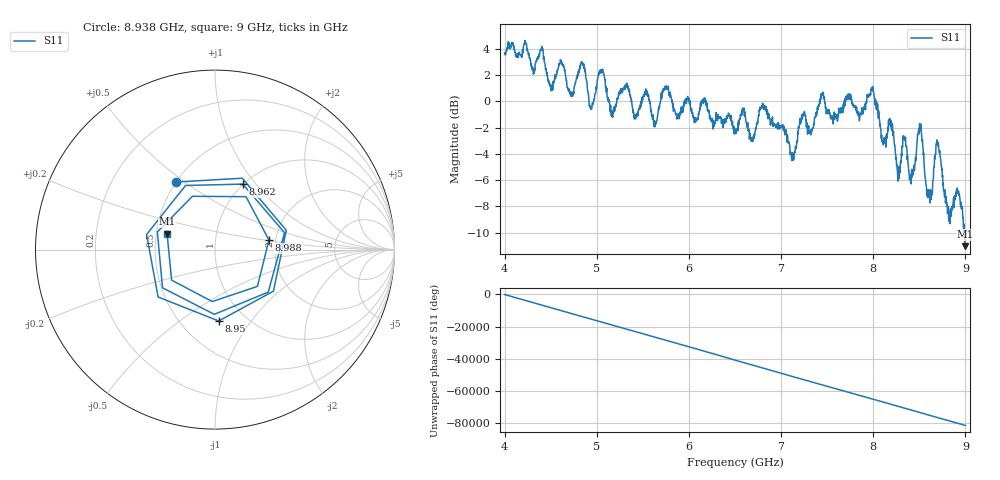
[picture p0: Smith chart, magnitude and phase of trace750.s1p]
! Created with skrf 1.8.0 (http://scikit-rf.org).
# Hz S RI R 50.0
!freq ReS11 ImS11
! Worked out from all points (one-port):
!   1601 points, 4 GHz to 9 GHz, reference 50 ohm
!   lowest |S11| = -11.0 dB at 9 GHz (marker M1), VSWR 1.78, Z = 28.5 + j5.49 ohm
!   |S11| at or under -10 dB: 8.986735 GHz to end of sweep
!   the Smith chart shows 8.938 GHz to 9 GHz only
!   S11 on the Smith chart (normalised r, x): 8.938 GHz: 0.50, +0.46; 8.95 GHz: 0.75, -0.71; 8.962 GHz: 0.99, +0.86; 8.988 GHz: 1.84, +0.22; 9 GHz: 0.57, +0.11
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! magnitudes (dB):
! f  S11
! 4 GHz  3.7
! 4.5 GHz  1.3
! 4.625 GHz  2.9
! 4.725 GHz  0.6
! 4.85 GHz  2.7
! 4.941 GHz  -0.5
! 5.044 GHz  2.2
! 5.162 GHz  -0.7
! 5.25 GHz  0.7
! 5.875 GHz  -1.0
! 6.5 GHz  -2.3
! 6.812 GHz  -0.6
! 7.125 GHz  -3.9
! 7.444 GHz  0.5
! 7.75 GHz  0.1
! 7.991 GHz  0.8
! 8.112 GHz  -3.2
! 8.375 GHz  -4.4
! 8.425 GHz  -5.4
! 8.506 GHz  -2.0
! 8.603 GHz  -6.9
! 8.697 GHz  -3.1
! 8.819 GHz  -9.1
! 8.938 GHz  -7.2
! 8.95 GHz  -8.0
! 8.962 GHz  -8.0
! 8.988 GHz  -10.3
! 9 GHz  -11.0
